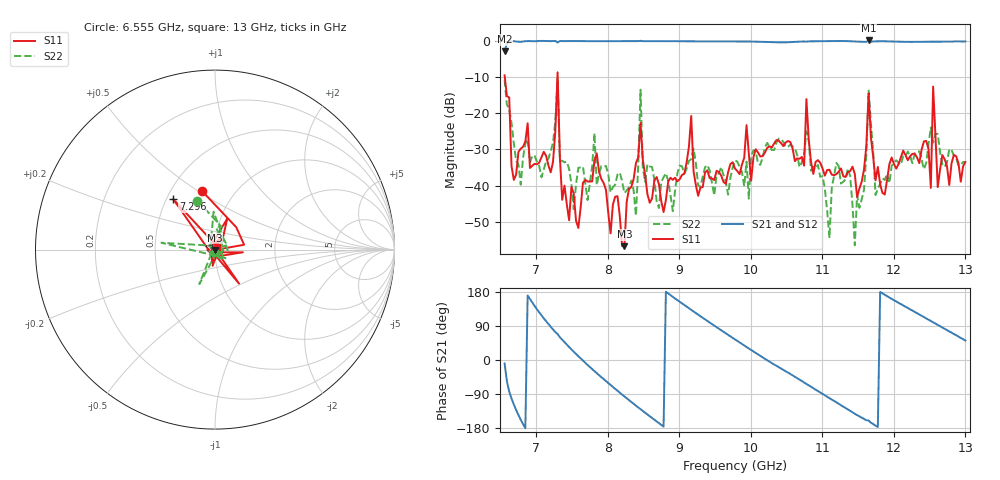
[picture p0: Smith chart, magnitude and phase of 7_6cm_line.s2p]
!Keysight Technologies,N5241B,MY57181531,A.15.65.19
!Date: Tuesday, December 03, 2024 16:25:41
!Correction: S11(C  2-Port  )
!S21(C  2-Port  )
!S12(C  2-Port  )
!S22(C  2-Port  )
!S2P File: Measurements: S11, S21, S12, S22:
# Hz S  dB  R 50
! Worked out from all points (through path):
!   201 points, 6.555 GHz to 13 GHz, reference 50 ohm
!   highest |S21| = 0.03 dB at 11.65 GHz (marker M1); lowest = -3.0 dB at 6.555 GHz (marker M2)
!   lowest |S11| = -56.7 dB at 8.231 GHz (marker M3), VSWR 1.00, Z = 50 - j0.141 ohm
!   |S11| at or under -10 dB: 6.557 GHz to 7.294 GHz (736.4 MHz wide, 10.6 % of centre); 7.298 GHz to end of sweep
!   |S22| runs from -56.4 to -10.4 dB; largest |S21 - S12| = 0.011
!   S11 on the Smith chart (normalised r, x): 6.555 GHz: 0.71, +0.52; 7.296 GHz: 0.54, +0.35; 13 GHz: 1.03, +0.03
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6.555e9  -9.59 102.2  -2.97 -9.3  -2.95 -9.1  -10.79 109.8
6.6839e9  -38.40 109.4  -0.17 -117.7  -0.17 -117.4  -28.32 26.8
6.845025e9  -27.83 82.9  -0.17 -179.9  -0.17 -179.6  -28.40 64.1
7.1995e9  -36.31 -67.9  -0.16 87.7  -0.14 88.2  -30.57 -20.4
7.296175e9  -8.74 129.6  -0.54 68.9  -0.54 69.2  -10.44 172.7
7.360625e9  -43.88 -5.6  -0.15 53.5  -0.14 53.8  -33.16 53.6
7.65065e9  -39.21 73.3  -0.16 -1.5  -0.16 -1.3  -34.73 88.9
8.2307e9  -56.67 -105.9  -0.15 -96.2  -0.14 -95.9  -42.02 36.4
8.391825e9  -33.77 89.0  -0.14 -120.5  -0.14 -120.1  -48.29 29.5
8.456275e9  -22.67 -104.0  -0.06 -129.8  -0.05 -129.5  -13.54 -114.5
8.714075e9  -39.62 88.4  -0.16 -166.6  -0.16 -166.3  -46.15 -24.7
9.7775e9  -35.28 128.4  -0.23 54.4  -0.22 54.6  -33.03 28.8
1.077648e10  -16.14 -5.5  -0.28 -63.2  -0.27 -62.9  -25.06 48.0
1.087315e10  -36.75 158.1  -0.19 -74.6  -0.19 -74.1  -34.81 -97.6
1.14532e10  -36.76 34.9  -0.24 -141.9  -0.25 -141.5  -56.42 92.6
1.164655e10  -14.58 68.4  0.03 -159.7  0.04 -159.3  -13.52 92.1
1.174322e10  -38.54 -22.3  -0.21 -173.4  -0.23 -172.9  -42.56 -37.2
1.193658e10  -34.08 -3.8  -0.23 164.8  -0.21 165.3  -39.28 58.2
1.251662e10  -40.61 -39.2  -0.31 102.9  -0.28 103.5  -23.96 -54.8
1.254885e10  -12.68 -54.7  -0.29 99.2  -0.28 99.6  -28.15 -174.0
1.26133e10  -40.38 -43.3  -0.31 92.5  -0.30 93.0  -25.73 -63.2
1.3e10  -33.49 49.8  -0.24 51.3  -0.22 51.9  -33.61 -90.3
